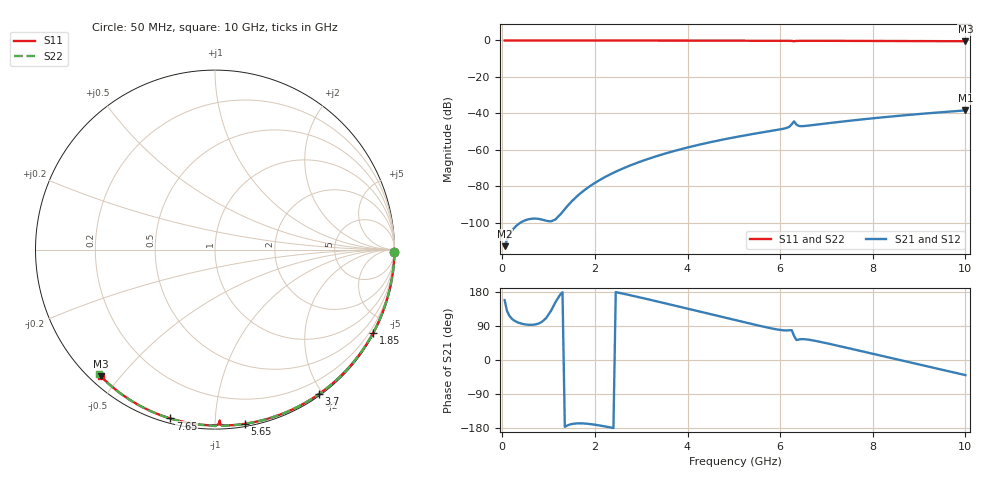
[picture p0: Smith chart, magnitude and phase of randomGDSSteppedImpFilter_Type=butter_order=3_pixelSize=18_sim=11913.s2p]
! freq	dB(S11)	phase(S11)	dB(S12)	phase(S12)
!  dB(S21)	phase(S21)	dB(S22)	phase(S22)
!S-par simulation data
#  GHz  S  DB  R 50
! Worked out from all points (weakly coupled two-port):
!   200 points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, 50 MHz to 10 GHz, reference 50 ohm
!   highest |S21| = -38.35 dB at 10 GHz (marker M1); lowest = -112.7 dB at 50 MHz (marker M2)
!   lowest |S11| = -0.4 dB at 10 GHz (marker M3), VSWR 39.01, Z = 1.54 - j22.3 ohm
!   |S11| at or under -10 dB: nowhere
!   |S22| runs from -0.4 to 0.0 dB; largest |S21 - S12| = 0
!   S11 on the Smith chart (normalised r, x): 50 MHz: open; 1.85 GHz: 0.04, -4.04; 3.7 GHz: 0.02, -1.95; 5.65 GHz: 0.02, -1.18; 7.65 GHz: 0.02, -0.77; 10 GHz: 0.03, -0.45
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0.05  -0.00 -0.8  -112.75 158.1  -112.75 158.1  -0.00 -0.8
0.9  -0.02 -13.7  -98.49 105.3  -98.49 105.3  -0.02 -13.7
1.75  -0.03 -26.3  -82.49 -167.4  -82.49 -167.4  -0.03 -26.5
1.85  -0.04 -27.8  -80.60 -168.4  -80.60 -168.4  -0.04 -28.0
1.9  -0.04 -28.5  -79.72 -169.1  -79.72 -169.1  -0.04 -28.7
2.2  -0.04 -32.9  -75.11 -174.8  -75.11 -174.8  -0.04 -33.1
2.55  -0.05 -38.0  -70.76 176.6  -70.76 176.6  -0.05 -38.3
2.95  -0.06 -43.8  -66.69 165.8  -66.69 165.8  -0.06 -44.0
3.4  -0.07 -50.1  -62.88 153.0  -62.88 153.0  -0.07 -50.4
3.7  -0.07 -54.3  -60.67 144.3  -60.67 144.3  -0.07 -54.7
4.35  -0.09 -63.2  -56.56 125.2  -56.56 125.2  -0.09 -63.6
5.05  -0.11 -72.6  -52.91 104.6  -52.91 104.6  -0.11 -73.0
5.65  -0.13 -80.4  -50.23 87.6  -50.23 87.6  -0.13 -80.8
6.15  -0.17 -87.1  -47.86 78.0  -47.86 78.0  -0.15 -87.2
6.2  -0.19 -87.9  -47.27 78.6  -47.27 78.6  -0.16 -87.8
6.3  -0.42 -88.4  -44.34 63.7  -44.34 63.7  -0.16 -89.1
6.35  -0.27 -88.3  -46.05 52.9  -46.05 52.9  -0.16 -89.7
6.4  -0.21 -89.1  -46.81 54.1  -46.81 54.1  -0.17 -90.3
6.7  -0.18 -93.2  -46.40 51.9  -46.40 51.9  -0.18 -94.1
7.65  -0.24 -104.8  -43.59 26.3  -43.59 26.3  -0.24 -105.6
8.35  -0.29 -113.1  -41.79 6.5  -41.79 6.5  -0.29 -113.9
10  -0.45 -131.9  -38.35 -39.9  -38.35 -39.9  -0.45 -132.9
